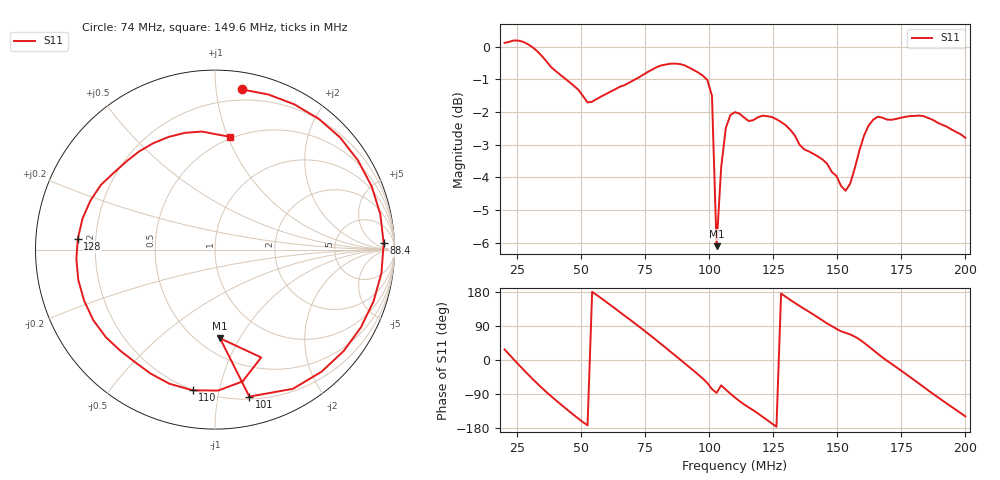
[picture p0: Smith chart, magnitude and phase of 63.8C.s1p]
# HZ S RI R 50
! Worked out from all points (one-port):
!   101 points, 20 MHz to 200 MHz, reference 50 ohm
!   lowest |S11| = -6.1 dB at 102.8 MHz (marker M1), VSWR 2.96, Z = 31.8 - j41.6 ohm
!   |S11| at or under -10 dB: nowhere
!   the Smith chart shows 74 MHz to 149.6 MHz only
!   S11 on the Smith chart (normalised r, x): 74 MHz: 0.12, +1.17; 88.4 MHz: 24, +14; 101 MHz: 0.22, -1.24; 110 MHz: 0.20, -0.83; 128 MHz: 0.13, +0.04; 149.6 MHz: 0.49, +1.02
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2e7  0.8967 0.4719
2.54e7  1 -0.2062
3.26e7  0.4759 -0.8626
3.8e7  -0.0749 -0.9289
4.34e7  -0.516 -0.7313
4.88e7  -0.7761 -0.3683
5.42e7  -0.8236 0.000308
6.5e7  -0.5164 0.6979
7.4e7  0.1499 0.8925
8.12e7  0.6979 0.6237
8.84e7  0.9398 0.0348
9.56e7  0.7173 -0.5645
1.01e8  0.1913 -0.8191
1.028e8  0.028 -0.4941
1.046e8  0.2572 -0.6007
1.1e8  -0.1249 -0.7839
1.208e8  -0.6783 -0.3929
1.28e8  -0.7643 0.0599
1.334e8  -0.6359 0.3599
1.424e8  -0.2577 0.6281
1.496e8  0.0849 0.6283
1.55e8  0.2361 0.57
1.604e8  0.5119 0.5214
1.658e8  0.7495 0.2202
1.73e8  0.7332 -0.2512
1.784e8  0.5529 -0.5542
1.874e8  0.00664 -0.772
2e8  -0.6195 -0.3767
